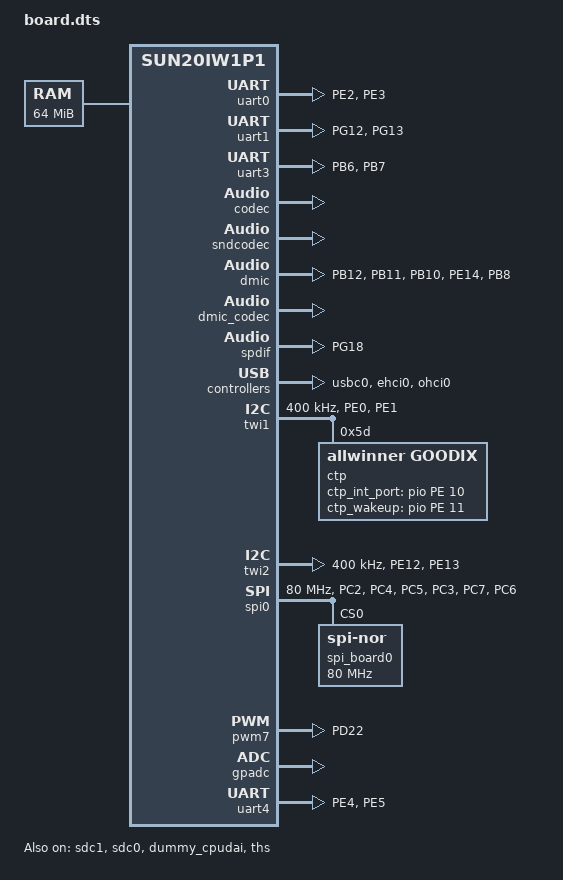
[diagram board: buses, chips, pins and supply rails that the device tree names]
/*
 * Allwinner Technology CO., Ltd. sun20iw1p1 fpga.
 *
 * fpga support.
 */

/dts-v1/;

#include "sun20iw1p1.dtsi"

/* F133-B has no HDMI video or audio hardware. */
/delete-node/ &hdmi;
/delete-node/ &hdmiaudio;

/{
	compatible = "allwinner,d1", "arm,sun20iw1p1", "allwinner,sun20iw1p1";

	chosen {
		bootargs = "earlycon=sbi console=ttyS0,115200 loglevel=6 cma=8M root=/dev/mmcblk0p1 rootfstype=ext4 rootwait rw";
		stdout-path = "serial0:115200n8";
	};

	memory@40000000 {
		device_type = "memory";
		reg = <0x0 0x40000000 0x0 0x04000000>;
	};

	reserved-memory {
		#address-cells = <2>;
		#size-cells = <2>;
		ranges;

		early_lcd_fb: framebuffer@43c00000 {
			/* Match the OpenSBI and native ARGB8888 framebuffer. */
			reg = <0x0 0x43c00000 0x0 0x00300000>;
		};
	};

	aliases {
		dsp0 = &dsp0;
		dsp0_gpio_int= &dsp0_gpio_int;
	};

	dsp0: dsp0 {
		compatible = "allwinner,sun20iw1-dsp";
		status = "disabled";
	};

	dsp0_gpio_int: dsp0_gpio_int {
		compatible = "allwinner,sun20iw1-dsp-gpio-int";
		pin-group = "PB", "PC", "PD", "PE";
		status = "disabled";
	};

	reg_usb1_vbus: usb1-vbus {
		/* Match DDR: PB3 VBUS control is unverified on this board. */
		status = "disabled";
		compatible = "regulator-fixed";
		regulator-name = "usb1-vbus";
		regulator-min-microvolt = <5000000>;
		regulator-max-microvolt = <5000000>;
		regulator-enable-ramp-delay = <1000>;
		gpio = <&pio PB 3 GPIO_ACTIVE_HIGH>;
		enable-active-high;
	};
};

&pio {
	/* PB PC PD PE PF PG: HOSC / 32 sampling for the PE10 touch IRQ. */
	input-debounce = <0 0 0 1 0 0>;

	sdc0_pins_a: sdc0@0 {
		allwinner,pins = "PF0", "PF1", "PF2",
				 "PF3", "PF4", "PF5";
		allwinner,function = "sdc0";
		allwinner,muxsel = <2>;
		allwinner,drive = <3>;
		allwinner,pull = <1>;
		pins = "PF0", "PF1", "PF2",
		       "PF3", "PF4", "PF5";
		function = "sdc0";
		drive-strength = <30>;
		bias-pull-up;
		power-source = <3300>;
	};


	sdc0_pins_b: sdc0@1 {
		pins = "PF0", "PF1", "PF2",
		       "PF3", "PF4", "PF5";
		function = "sdc0";
		drive-strength = <30>;
		bias-pull-up;
		power-source = <1800>;
	};

	sdc0_pins_c: sdc0@2 {
		pins = "PF0", "PF1", "PF2",
			"PF3", "PF4", "PF5";
		function = "gpio_in";
	};

	/* TODO: add jtag pin */
	sdc0_pins_d: sdc0@3 {
		pins = "PF2", "PF4";
		function = "uart0";
		drive-strength = <10>;
		bias-pull-up;
	};

	sdc0_pins_e: sdc0@4 {
		pins = "PF0", "PF1", "PF3",
			"PF5";
		function = "jtag";
		drive-strength = <10>;
		bias-pull-up;
	};


	sdc1_pins_a: sdc1@0 {
		pins = "PG0", "PG1", "PG2",
		       "PG3", "PG4", "PG5";
		function = "sdc1";
		drive-strength = <30>;
		bias-pull-up;
	};

	sdc1_pins_b: sdc1@1 {
		pins = "PG0", "PG1", "PG2",
		       "PG3", "PG4", "PG5";
			function = "gpio_in";
	};

	sdc2_pins_a: sdc2@0 {
		allwinner,pins = "PC2", "PC3", "PC4",
				 "PC5", "PC6", "PC7";
		allwinner,function = "sdc2";
		allwinner,muxsel = <3>;
		allwinner,drive = <3>;
		allwinner,pull = <1>;
		pins = "PC2", "PC3", "PC4",
			"PC5", "PC6", "PC7";
		function = "sdc2";
		drive-strength = <30>;
		bias-pull-up;
	};

	sdc2_pins_b: sdc2@1 {
		pins = "PC2", "PC3", "PC4",
		       "PC5", "PC6", "PC7";
		function = "gpio_in";
	};

    uart0_pins_a: uart0_pins@0 {
        pins = "PE2", "PE3";
        function = "uart0";
        drive-strength = <10>;
        bias-pull-up;
    };

    uart0_pins_b: uart0_pins@1 {
        pins = "PE2", "PE3";
        function = "gpio_in";
    };

	uart1_pins_a: uart1_pins@0 {
		pins = "PG12", "PG13";
		function = "uart1";
		drive-strength = <10>;
		bias-pull-up;
	};

	uart1_pins_b: uart1_pins@1 {
		pins = "PG12", "PG13";
		function = "gpio_in";
	};

	uart3_pins_a: uart3_pins@0 {
		pins = "PB6", "PB7";
		function = "uart3";
		muxsel = <7>;
		drive-strength = <10>;
		bias-pull-up;
	};

	uart3_pins_b: uart3_pins@1 {
		pins = "PB6", "PB7";
		function = "gpio_in";
	};

	twi0_pins_a: twi0@0 {
		pins = "PB03", "PB02";	/*sck sda*/
		function = "twi0";
		drive-strength = <10>;
	};

	twi0_pins_b: twi0@1 {
		pins = "PB03", "PB02";
		function = "gpio_in";
	};

	twi1_pins_a: twi1@0 {
		pins = "PE0", "PE1";
		function = "twi1";
		drive-strength = <10>;
		bias-pull-up;
	};

	twi1_pins_b: twi1@1 {
		pins = "PE0", "PE1";
		function = "gpio_in";
	};

    twi2_pins_a: twi2@0 {
        pins = "PE12", "PE13";
        function = "twi2";
        drive-strength = <10>;
        bias-pull-up;
    };

    twi2_pins_b: twi2@1 {
        pins = "PE12", "PE13";
        function = "gpio_in";
    };

	twi3_pins_a: twi3@0 {
		pins = "PG07", "PG06";
		function = "twi3";
		drive-strength = <10>;
	};

	twi3_pins_b: twi3@1 {
		pins = "PG07", "PG06";
		function = "gpio_in";
	};

	dmic_pins_a: dmic@0 {
		/* DMIC_PIN: CLK, DATA0, DATA1, DATA2, DATA3*/
		pins = "PB12", "PB11", "PB10", "PE14", "PB8";
		function = "dmic";
		drive-strength = <20>;
		bias-disable;
	};

	dmic_pins_b: dmic@1 {
		pins = "PB12", "PB11", "PB10", "PE14", "PB8";
		function = "io_disabled";
		drive-strength = <20>;
		bias-disable;
	};

	daudio0_pins_a: daudio0@0 {
		pins = "PE17", "PE16", "PE15", "PE14", "PE13";
		function = "i2s0";
		drive-strength = <20>;
		bias-disable;
	};

	daudio0_pins_b: daudio0_sleep@0 {
		pins = "PE17", "PE16", "PE15", "PE14", "PE13";
		function = "io_disabled";
		drive-strength = <20>;
		bias-disable;
	};

	daudio1_pins_a: daudio1@0 {
		pins = "PG11", "PG12", "PG13", "PG14", "PG15";
		function = "i2s1";
		drive-strength = <20>;
		bias-disable;
	};

	daudio1_pins_b: daudio1_sleep@0 {
		pins = "PG11", "PG12", "PG13", "PG14", "PG15";
		function = "io_disabled";
		drive-strength = <20>;
		bias-disable;
	};

	daudio2_pins_a: daudio2@0 {
		/* I2S_PIN: MCLK, BCLK, LRCK */
		pins = "PF6", "PF3", "PF5";
		function = "i2s2";
		drive-strength = <20>;
		bias-disable;
	};

	daudio2_pins_b: daudio2@1 {
		/* I2S_PIN: DOUT0 */
		pins = "PF1";
		function = "i2s2_dout";
		drive-strength = <20>;
		bias-disable;
	};

	daudio2_pins_c: daudio2@2 {
		/* I2S_PIN: DIN0 */
		pins = "PF0";
		function = "i2s2_din";
		drive-strength = <20>;
		bias-disable;
	};

	daudio2_pins_d: daudio2_sleep@0 {
		pins = "PF6", "PF3", "PF5", "PF1", "PF0";
		function = "io_disabled";
		drive-strength = <20>;
		bias-disable;
	};

	spdif_pins_a: spdif@0 {
		/* SPDIF_PIN: SPDIF_OUT */
		pins = "PG18";
		function = "spdif";
		drive-strength = <20>;
		bias-disable;
	};

	spdif_pins_b: spdif_sleep@0 {
		pins = "PG18";
		function = "io_disabled";
		drive-strength = <20>;
		bias-disable;
	};

	spi0_pins_a: spi0@0 {
		pins = "PC2", "PC4", "PC5"; /* clk, mosi, miso */
		function = "spi0";
		muxsel = <2>;
		drive-strength = <20>;
	};

	spi0_pins_b: spi0@1 {
		pins = "PC3", "PC7", "PC6";
		function = "spi0";
		muxsel = <2>;
		drive-strength = <20>;
		bias-pull-up;   /* cs, hold, wp should be pulled up */
	};

	spi0_pins_c: spi0@2 {
		pins = "PC2", "PC3", "PC4", "PC5","PC6", "PC7";
		function = "gpio_in";
		muxsel = <0>;
		drive-strength = <10>;
	};

	ledc_pins_a: ledc@0 {
		pins = "PC0";
		function = "ledc";
		drive-strength = <10>;
	};

	ledc_pins_b: ledc@1 {
		pins = "PC0";
		function = "gpio_in";
	};

	pwm7_pin_a: pwm7@0 {
		pins = "PD22";
		function = "pwm7";
		drive-strength = <10>;
		bias-pull-up;
	};

	pwm7_pin_b: pwm7@1 {
		pins = "PD22";
		function = "gpio_in";
	};


	s_cir0_pins_a: s_cir@0 {
		pins = "PB7";
		function = "ir";
		drive-strength = <10>;
		bias-pull-up;
	};

	s_cir0_pins_b: s_cir@1 {
		pins = "PB7";
		function = "gpio_in";
	};

	ir1_pins_a: ir1@0 {
		pins = "PB0";
		function = "ir";
		drive-strength = <10>;
		bias-pull-up;
	};

	ir1_pins_b: ir1@1 {
		pins = "PB0";
		function = "gpio_in";
	};
};

&uart0 {
	pinctrl-names = "default", "sleep";
	pinctrl-0 = <&uart0_pins_a>;
	pinctrl-1 = <&uart0_pins_b>;
	status = "okay";
};

&uart1 {
	pinctrl-names = "default", "sleep";
	pinctrl-0 = <&uart1_pins_a>;
	pinctrl-1 = <&uart1_pins_b>;
	status = "okay";
};

&uart3 {
	pinctrl-names = "default", "sleep";
	pinctrl-0 = <&uart3_pins_a>;
	pinctrl-1 = <&uart3_pins_b>;
	/* J6 CAN bridge: PB6 TX, PB7 RX; no RTS/CTS. */
	uart3_type = <2>;
	status = "okay";
};

/* System watchdog (timer block, the one Boot0 uses as SUNXI_WDOG_BASE) for
 * OpenSBI's SBI system reset. watchdog@6011000 is the RISC-V core watchdog
 * and only resets the CPU, leaving the board dark. No Linux driver matches
 * this compatible, so only OpenSBI uses the node. */
&soc {
	watchdog@20500a0 {
		compatible = "allwinner,sun20i-d1-wdt-reset";
		reg = <0x0 0x020500a0 0x0 0x20>;
	};
};

&soc {
	card0_boot_para@2 {
		/*
		 * Avoid dtc compiling warnings.
		 * @TODO: Developer should modify this to the actual value
		 */
		reg = <0x0 0x2 0x0 0x0>;
		device_type = "card0_boot_para";
		card_ctrl = <0x0>;
		card_high_speed = <0x1>;
		card_line = <0x4>;
		pinctrl-0 = <&sdc0_pins_a>;
	};

	addr_mgt: addr_mgt@0 {
		compatible     = "allwinner,sunxi-addr_mgt";
		type_addr_wifi = <0x0>;
		type_addr_bt   = <0x0>;
		type_addr_eth  = <0x0>;
		status         = "okay";
	};
};

&sdc2 {
	status = "disabled";
};

/* SV6256P Wi-Fi uses the dedicated PG0-PG5 SDIO bus. */
&sdc1 {
	bus-width = <4>;
	non-removable;
	no-mmc;
	no-sd;
	cap-sd-highspeed;
	cap-sdio-irq;
	keep-power-in-suspend;
	max-frequency = <50000000>;
	status = "okay";
};

&sdc0 {
	/* Capture the first read failure before IRQ status/DMA are cleared. */
	bus-width = <4>;
	cd-gpios = <&pio PF 6 (GPIO_ACTIVE_LOW | GPIO_PULL_UP)>;
	/*non-removable;*/
	/*broken-cd;*/
	/*cd-inverted;*/
	/*data3-detect;*/
	/*card-pwr-gpios = <&pio PH 14 1 1 2 0xffffffff>;*/
	cd-used-24M;
	/* Diagnostic: use default-speed timing, including the inherited capability. */
	/delete-property/ cap-sd-highspeed;
	/*sd-uhs-sdr50;*/
	/*sd-uhs-ddr50;*/
	/*sd-uhs-sdr104;*/
	no-sdio;
	no-mmc;
	/* Diagnostic: keep the SD clock running, matching Melis runtime behavior. */
	/delete-property/ sunxi-power-save-mode;
	/*sunxi-dis-signal-vol-sw;*/
	/* Melis selects 15 MHz when its runtime card_high_speed setting is zero. */
	max-frequency = <15000000>;
	/* Allow the MMC core to retry initialization at 300/200/100 kHz. */
	min-frequency = <100000>;
	ctl-spec-caps = <0x8>;
	/*vmmc-supply = <&reg_dcdc1>;*/
	/*vqmmc33sw-supply = <&reg_dcdc1>;*/
	/*vdmmc33sw-supply = <&reg_dcdc1>;*/
	/*vqmmc18sw-supply = <&reg_eldo1>;*/
	/*vdmmc18sw-supply = <&reg_eldo1>;*/
	status = "okay";
};

/*
tvd configuration
used                   (create device, 0: do not create device, 1: create device)
agc_auto_enable        (0: agc manual mode,agc_manual_value is valid; 1: agc auto mode)
agc_manual_value       (agc manual value, default value is 64)
cagc_enable            (cagc        0: disable, 1: enable)
fliter_used            (3d fliter   0: disable, 1: enable)
support two PMU power  (tvd_power0, tvd_power1)
support two GPIO power (tvd_gpio0, tvd_gpio1)
NOTICE: If tvd need pmu power or gpio power,params need be configured under [tvd]
tvd_sw                 (the switch of all tvd driver.)
tvd_interface          (0: cvbs, 1: ypbpr,)
tvd_format             (0:TVD_PL_YUV420 , 1: MB_YUV420, 2: TVD_PL_YUV422)
tvd_system             (0:ntsc, 1:pal)
tvd_row                (total row number in multi channel mode 1-2)
tvd_column             (total column number in multi channel mode 1-2)
tvd_channelx_en        (0:disable, 1~4:position in multi channel mode,In single channel
                       mode,mean enable)
tvd_row*tvd_column is the total tvd channel number to be used in multichannel mode
+--------------------+--------------------+
|                    |                    |
|                    |                    |
|         1          |         2          |
|                    |                    |
|                    |                    |
+--------------------+--------------------+
|                    |                    |
|                    |                    |
|         3          |         4          |
|                    |                    |
|                    |                    |
+--------------------+--------------------+
*/

&tvd {
	tvd_sw          = <1>;
	tvd_interface   = <0>;
	tvd_format      = <0>;
	tvd_system      = <1>;
	tvd_row         = <1>;
	tvd_column      = <1>;
	tvd_channel0_en = <1>;
	tvd_channel1_en = <0>;
	tvd_channel2_en = <0>;
	tvd_channel3_en = <0>;
	/*tvd_gpio0 = <&pio PD 22 GPIO_ACTIVE_HIGH>;*/
	/*tvd_gpio1 = <&pio PD 23 GPIO_ACTIVE_HIGH>;*/
	/*tvd_gpio2 = <&pio PD 24 GPIO_ACTIVE_HIGH>;*/
	/*	dc1sw-supply = <&reg_dc1sw>;*/
	/*	eldo3-supply = <&reg_eldo3>;*/
	/*tvd_power0      = "dc1sw"*/
	/*tvd_power1      = "eldo3"*/
};

&tvd0 {
	used                    = <1>;
	agc_auto_enable         = <1>;
	agc_manual_value        = <64>;
	cagc_enable             = <1>;
	fliter_used             = <1>;
};

/* Audio Driver modules */
&sunxi_rpaf_dsp0 {
	status = "disabled";
};

/* if audiocodec is used, sdc0 and uart0 should be closed to enable PA. */
&codec {
	/* MIC and headphone gain setting */
	mic1gain 	= <0x1F>;
	mic2gain 	= <0x1F>;
	mic3gain 	= <0x1F>;
	/* ADC/DAC DRC/HPF func enabled */
        /* 0x1:DAP_HP_EN; 0x2:DAP_SPK_EN; 0x3:DAP_HPSPK_EN */
	adcdrc_cfg 	= <0x0>;
	adchpf_cfg 	= <0x1>;
	dacdrc_cfg 	= <0x0>;
	dachpf_cfg 	= <0x0>;
	/* Volume about */
	digital_vol 	= <0x00>;
	lineout_vol 	= <0x1a>;
	headphonegain	= <0x03>;
	/* Pa enabled about */
	pa_level 	= <0x01>;
	pa_pwr_level 	= <0x01>;
	pa_msleep_time 	= <0x78>;
	/* gpio-spk	= <&pio PF 2 GPIO_ACTIVE_HIGH>;*/
	/* gpio-spk-pwr	= <&pio PF 4 GPIO_ACTIVE_HIGH>; */
	/* CMA config about */
	playback_cma	= <128>;
	capture_cma	= <256>;
	/* regulator about */
	/* avcc-supply	= <&reg_aldo1>; */
	/* hpvcc-supply	= <&reg_eldo1>; */
	status = "okay";
};

&sndcodec {
	hp_detect_case = <0x01>;
	/* HPOUTL/R are permanently wired to AB5301B AUXL3/R3. */
	jack_enable = <0x00>;
	allwinner,fixed-headphone-output;
	status = "okay";
};

&dummy_cpudai {
	/* CMA config about */
	playback_cma = <128>;
	capture_cma = <256>;
	status = "okay";
};

&dmic {
	pinctrl-names   = "default","sleep";
	pinctrl-0       = <&dmic_pins_a>;
	pinctrl-1       = <&dmic_pins_b>;
	status = "okay";
};

&dmic_codec {
	status = "okay";
};

&sounddmic {
	status = "okay";
};

/*-----------------------------------------------------------------------------
 * pcm_lrck_period	16/32/64/128/256
 *			(set 0x20 for HDMI audio out)
 * slot_width_select	16bits/20bits/24bits/32bits
 *			(set 0x20 for HDMI audio out)
 * frametype		0 --> short frame = 1 clock width;
 *			1 --> long frame = 2 clock width;
 * tdm_config		0 --> pcm
 *			1 --> i2s
 *			(set 0x01 for HDMI audio out)
 * mclk_div		0 --> not output
 *			1/2/4/6/8/12/16/24/32/48/64/96/128/176/192
 *			(set mclk as external codec clk source, freq is pll_audio/mclk_div)
 * pinctrl_used		0 --> I2S/PCM use for internal (e.g. HDMI)
 *			1 --> I2S/PCM use for external audio
 * daudio_type:		0 --> external audio type
 *			1 --> HDMI audio type
 *---------------------------------------------------------------------------*/
&daudio0 {
	mclk_div 	= <0x01>;
	frametype 	= <0x00>;
	tdm_config 	= <0x01>;
	sign_extend 	= <0x00>;
	msb_lsb_first 	= <0x00>;
	pcm_lrck_period = <0x80>;
	slot_width_select = <0x20>;
	pinctrl-names   = "default", "sleep";
	pinctrl-0       = <&daudio0_pins_a>;
	pinctrl-1       = <&daudio0_pins_b>;
	pinctrl_used	= <0x0>;
	status = "disabled";
};

/*-----------------------------------------------------------------------------
 * simple-audio-card,name	name of sound card, e.g.
 *				"snddaudio0" --> use for external audio
 *				"sndhdmi" --> use for HDMI audio
 * sound-dai			"snd-soc-dummy" --> use for I2S
 *				"hdmiaudio" --> use for HDMI audio
 *				"ac108" --> use for external audio of ac108
 *---------------------------------------------------------------------------*/
&sounddaudio0 {
	/* simple-audio-card,format = "i2s"; */
	/* simple-audio-card,frame-master = <&daudio0_master>; */
	/* simple-audio-card,bitclock-master = <&daudio0_master>; */
	/* simple-audio-card,bitclock-inversion; */
	/* simple-audio-card,frame-inversion; */
	status = "disabled";
	daudio0_master: simple-audio-card,codec {
		/* sound-dai = <&ac108>; */
	};
};

&daudio1 {
	mclk_div 	= <0x01>;
	frametype 	= <0x00>;
	tdm_config 	= <0x01>;
	sign_extend 	= <0x00>;
	msb_lsb_first 	= <0x00>;
	pcm_lrck_period = <0x80>;
	slot_width_select = <0x20>;
	pinctrl-names   = "default", "sleep";
	pinctrl-0       = <&daudio1_pins_a>;
	pinctrl-1       = <&daudio1_pins_b>;
	pinctrl_used	= <0x0>;
	status = "disabled";
};

&sounddaudio1 {
	status = "disabled";
	daudio1_master: simple-audio-card,codec {
		/* sound-dai = <&ac108>; */
	};
};

&daudio2 {
	mclk_div 	= <0x01>;
	frametype 	= <0x00>;
	tdm_config 	= <0x01>;
	sign_extend 	= <0x00>;
	tx_data_mode 	= <0x00>;
	rx_data_mode 	= <0x00>;
	msb_lsb_first 	= <0x00>;
	pcm_lrck_period = <0x80>;
	slot_width_select = <0x20>;
	asrc_function_en  = <0x00>;
	pinctrl-names   = "default", "sleep";
	pinctrl-0       = <&daudio2_pins_a &daudio2_pins_b &daudio2_pins_c>;
	pinctrl-1       = <&daudio2_pins_d>;
	pinctrl_used	= <0x1>;
	daudio_type	= <0x0>;
	status = "disabled";
};

&sounddaudio2 {
	status = "okay";
	daudio2_master: simple-audio-card,codec {
		/* sound-dai = <&ac108>; */
	};
};

&spdif {
	pinctrl-names   = "default","sleep";
	pinctrl-0       = <&spdif_pins_a>;
	pinctrl-1       = <&spdif_pins_b>;
	status = "okay";
};

&soundspdif {
	status = "okay";
};

/*
 *usb_port_type: usb mode. 0-device, 1-host, 2-otg.
 *usb_detect_type: usb hotplug detect mode. 0-none, 1-vbus/id detect, 2-id/dpdm detect.
 *usb_detect_mode: 0-thread scan, 1-id gpio interrupt.
 *usb_id_gpio: gpio for id detect.
 *usb_det_vbus_gpio: gpio for id detect. gpio or "axp_ctrl";
 *usb_wakeup_suspend：0-SUPER_STANDBY, 1-USB_STANDBY.
 */
&usbc0 {
	device_type = "usbc0";
	usb_port_type = <0x1>;
	usb_detect_type = <0x0>;
	usb_detect_mode = <0>;
	/* Fixed host role: no unverified ID or VBUS-detect GPIOs. */
	/delete-property/ usb_id_gpio;
	/delete-property/ usb_det_vbus_gpio;
	usb_wakeup_suspend = <0>;
	usb_serial_unique = <0>;
	usb_serial_number = "20080411";
	rndis_wceis = <1>;
	status = "okay";
};

&udc {
	status = "disabled";
};

&ehci0 {
	/* Match the working DDR setup without GPIO VBUS switching. */
	/delete-property/ drvvbus-supply;
	status = "okay";
};

&ohci0 {
	/delete-property/ drvvbus-supply;
	status = "okay";
};

&usbc1 {
	device_type = "usbc1";
	usb_port_type = <1>;
	usb_detect_type = <0>;
	usb_regulator_io = "nocare";
	usb_wakeup_suspend = <0>;
	status = "disabled";
};

&ehci1 {
	status = "disabled";
};

&ohci1 {
	status = "disabled";
};

&twi0 {
	clock-frequency = <400000>;
	pinctrl-0 = <&twi0_pins_a>;
	pinctrl-1 = <&twi0_pins_b>;
	pinctrl-names = "default", "sleep";
	status = "disabled";

	eeprom@50 {
		compatible = "atmel,24c16";
		reg = <0x50>;
		status = "disabled";
	};
};

&twi1 {
	clock-frequency = <400000>;
	pinctrl-0 = <&twi1_pins_a>;
	pinctrl-1 = <&twi1_pins_b>;
	pinctrl-names = "default", "sleep";
	dmas = <&dma 44>, <&dma 44>;
	dma-names = "tx", "rx";
	/* Goodix: PE0/PE1 bus, PE10 INT, PE11 reset. */
	status = "okay";

	ctp@5d {
		compatible = "allwinner,goodix";
		device_type = "ctp";
		reg = <0x5d>;
		status = "okay";
		ctp_name = "gt9xxnew_ts";
		ctp_twi_id = <0x1>;
		ctp_twi_addr = <0x5d>;
		ctp_screen_max_x = <1024>;
		ctp_screen_max_y = <600>;
		/* Native X follows the LCD; the inherited Melis reversal mirrored it. */
		ctp_revert_x_flag = <0x0>;
		ctp_revert_y_flag = <0x0>;
		ctp_exchange_x_y_flag = <0x0>;
		ctp_int_port = <&pio PE 10 GPIO_ACTIVE_HIGH>;
		ctp_wakeup = <&pio PE 11 GPIO_ACTIVE_HIGH>;
	};
};

&twi2 {
	/* MFi authentication chip: PE12 SCL / PE13 SDA. */
	clock-frequency = <400000>;
	pinctrl-0 = <&twi2_pins_a>;
	pinctrl-1 = <&twi2_pins_b>;
	pinctrl-names = "default", "sleep";
	dmas = <&dma 45>, <&dma 45>;
	dma-names = "tx", "rx";
	status = "okay";
};

&twi3 {
	clock-frequency = <400000>;
	pinctrl-0 = <&twi3_pins_a>;
	pinctrl-1 = <&twi3_pins_b>;
	pinctrl-names = "default", "sleep";
	status = "disabled";

	rda5807@11 {
		compatible = "rdamicro,rda5807";
		reg = <0x11>;
		lnap;
		lna-current = <2500>;
		analog-out;
	};
};

&spi0 {
	clock-frequency = <80000000>;
	pinctrl-0 = <&spi0_pins_a &spi0_pins_b>;
	pinctrl-1 = <&spi0_pins_c>;
	pinctrl-names = "default", "sleep";
	/*spi-supply = <&reg_dcdc1>;*/
	spi_slave_mode = <0>;
	spi0_cs_number = <1>;
	spi0_cs_bitmap = <1>;
	status = "okay";

	spi-nand@0 {
		compatible = "spi-nand";
		spi-max-frequency=<0x5F5E100>;
		reg = <0x0>;
		spi-rx-bus-width=<0x04>;
		spi-tx-bus-width=<0x04>;
		status="disabled";
	};

	spi_board0 {
		device_type = "spi_board0";
		compatible = "spi-nor";
		spi-max-frequency = <0x4C4B400>;
		reg = <0x0>;
		spi-rx-bus-width = <0x4>;
		spi-tx-bus-width = <0x4>;
		status = "okay";
	};
};

&ledc {
	pinctrl-names = "default", "sleep";
	pinctrl-0 = <&ledc_pins_a>;
	pinctrl-1 = <&ledc_pins_b>;
	led_count = <12>;
	output_mode = "GRB";
	reset_ns = <84>;
	t1h_ns = <800>;
	t1l_ns = <320>;
	t0h_ns = <300>;
	t0l_ns = <800>;
	wait_time0_ns = <84>;
	wait_time1_ns = <84>;
	wait_data_time_ns = <600000>;
	status	= "disabled";
};

&keyboard0 {
	key0 = <210 0x160>;
	wakeup-source;
	status = "disabled";
};

/*----------------------------------------------------------------------------------
disp init configuration

disp_mode             (0:screen0<screen0,fb0>)
screenx_output_type   (0:none; 1:lcd; 2:tv; 3:hdmi;5:vdpo)
screenx_output_mode   (used for hdmi output, 0:480i 1:576i 2:480p 3:576p 4:720p50)
                      (5:720p60 6:1080i50 7:1080i60 8:1080p24 9:1080p50 10:1080p60)
screenx_output_format (for hdmi, 0:RGB 1:yuv444 2:yuv422 3:yuv420)
screenx_output_bits   (for hdmi, 0:8bit 1:10bit 2:12bit 2:16bit)
screenx_output_eotf   (for hdmi, 0:reserve 4:SDR 16:HDR10 18:HLG)
screenx_output_cs     (for hdmi, 0:undefined  257:BT709 260:BT601  263:BT2020)
screenx_output_dvi_hdmi (for hdmi, 0:undefined 1:dvi mode 2:hdmi mode)
screen0_output_range   (for hdmi, 0:default 1:full 2:limited)
screen0_output_scan    (for hdmi, 0:no data 1:overscan 2:underscan)
screen0_output_aspect_ratio  (for hdmi, 8-same as original picture 9-4:3 10-16:9 11-14:9)
fbx format            (4:RGB655 5:RGB565 6:RGB556 7:ARGB1555 8:RGBA5551 9:RGB888 10:ARGB8888 12:ARGB4444)
fbx pixel sequence    (0:ARGB 1:BGRA 2:ABGR 3:RGBA)
fb0_scaler_mode_enable(scaler mode enable, used FE)
fbx_width,fbx_height  (framebuffer horizontal/vertical pixels, fix to output resolution while equal 0)
lcdx_backlight        (lcd init backlight,the range:[0,256],default:197
lcdx_yy               (lcd init screen bright/contrast/saturation/hue, value:0~100, default:50/50/57/50)
lcd0_contrast         (LCD contrast, 0~100)
lcd0_saturation       (LCD saturation, 0~100)
lcd0_hue              (LCD hue, 0~100)
framebuffer software rotation setting:
disp_rotation_used:   (0:disable; 1:enable,you must set fbX_width to lcd_y,
set fbX_height to lcd_x)
degreeX:              (X:screen index; 0:0 degree; 1:90 degree; 3:270 degree)
degreeX_Y:            (X:screen index; Y:layer index 0~15; 0:0 degree; 1:90 degree; 3:270 degree)
devX_output_type : config output type in bootGUI framework in UBOOT-2018.
				   (0:none; 1:lcd; 2:tv; 4:hdmi;)
devX_output_mode : config output resolution(see include/video/sunxi_display2.h) of bootGUI framework in UBOOT-2018
devX_screen_id   : config display index of bootGUI framework in UBOOT-2018
devX_do_hpd      : whether do hpd detectation or not in UBOOT-2018
chn_cfg_mode     : Hardware DE channel allocation config. 0:single display with 6
				   channel, 1:dual display with 4 channel in main display and 2 channel in second
                   display, 2:dual display with 3 channel in main display and 3 channel in second
                   in display.
----------------------------------------------------------------------------------*/
&disp {
	/* Preserve OpenSBI's running DE (VIDEO0-4x / 4) and TCON clocks. */
	assigned-clock-parents = <&ccu CLK_PLL_VIDEO0_4X>,
		<&ccu CLK_PLL_PERIPH0>, <&ccu CLK_PLL_VIDEO0>,
		<&ccu CLK_PLL_VIDEO1_4X>;
	assigned-clock-rates = <348000000>, <150000000>, <0>, <0>;
	disp_init_enable         = <1>;
	disp_mode                = <0>;

	screen0_output_type      = <1>;
	screen0_output_mode      = <4>;

	screen1_output_type      = <0>;
	screen1_output_mode      = <10>;
	screen1_output_format    = <0>;
	screen1_output_bits      = <0>;
	screen1_output_eotf      = <4>;
	screen1_output_cs        = <257>;
	screen1_output_range     = <2>;
	screen1_output_scan      = <0>;
	screen1_output_aspect_ratio = <8>;

	dev0_output_type         = <1>;
	dev0_output_mode         = <4>;
	dev0_screen_id           = <0>;
	dev0_do_hpd              = <0>;

	dev1_output_type         = <0>;
	dev1_output_mode         = <10>;
	dev1_screen_id           = <1>;
	dev1_do_hpd              = <0>;

	def_output_dev           = <0>;

	fb0_format               = <0>;
	fb0_width                = <1024>;
	fb0_height               = <600>;

	fb1_format               = <0>;
	fb1_width                = <0>;
	fb1_height               = <0>;
	chn_cfg_mode             = <1>;

	disp_para_zone           = <1>;
	/*VCC-LCD*/
/*	dc1sw-supply = <&reg_dc1sw>;*/
	/*VCC-DSI*/
/*	eldo3-supply = <&reg_eldo3>;*/
	/*VCC-PD*/
/*	dcdc1-supply = <&reg_dcdc1>;*/
};

/*----------------------------------------------------------------------------------
;lcd0 configuration

;lcd_if:               0:hv(sync+de); 1:8080; 2:ttl; 3:lvds; 4:dsi; 5:edp; 6:extend dsi
;lcd_hv_if             0:Parallel RGB; 8:Serial RGB; 10:Dummy RGB; 11: RGB Dummy;12:CCIR656
;lcd_hv_clk_phase      0:0 degree;1:90 degree;2:180 degree;3:270 degree
;lcd_hv_sync_polarity  0:vs low,hs low; 1:vs high,hslow; 2:vs low,hs high; 3:vs high,hs high
;lcd_hv_syuv_seq       0:YUYV; 1:YVYU; 2:UYVY; 3:VYUY
;lcd_cpu_if            0:18bit/1 cycle parallel(RGB666); 4:16bit/1cycle parallel (RGB565)
;                      6:18bit/3 cycle parallel(RGB666); 7:16bit/2cycle parallel (RGB565)
;lcd_cpu_te            0:frame auto trigger; 1:frame triggered by te rising edge; 2:frame triggered by te falling edge;
;lcd_dsi_if            0:video mode; 1: Command mode; 2:video burst mode
;lcd_dsi_te            0:frame auto trigger; 1:frame triggered by te rising edge; 2:frame triggered by te falling edge;
;lcd_x:                lcd horizontal resolution
;lcd_y:                lcd vertical resolution
;lcd_width:            width of lcd in mm
;lcd_height:           height of lcd in mm
;lcd_dclk_freq:        in MHZ unit
;lcd_pwm_freq:         in HZ unit
;lcd_pwm_pol:          lcd backlight PWM polarity
;lcd_pwm_max_limit     lcd backlight PWM max limit(<=255)
;lcd_hbp:              hsync back porch(pixel) + hsync plus width(pixel);
;lcd_ht:               hsync total cycle(pixel)
;lcd_vbp:              vsync back porch(line) + vysnc plus width(line)
;lcd_vt:               vysnc total cycle(line)
;lcd_hspw:             hsync plus width(pixel)
;lcd_vspw:             vysnc plus width(pixel)
;lcd_lvds_if:          0:single link;  1:dual link
;lcd_lvds_colordepth:  0:8bit; 1:6bit
;lcd_lvds_mode:        0:NS mode; 1:JEIDA mode
;lcd_frm:              0:disable; 1:enable rgb666 dither; 2:enable rgb656 dither
;lcd_io_phase:         0:noraml; 1:intert phase(0~3bit: vsync phase; 4~7bit:hsync phase;
;                      8~11bit:dclk phase; 12~15bit:de phase)
;lcd_gamma_en          lcd gamma correction enable
;lcd_bright_curve_en   lcd bright curve correction enable
;lcd_cmap_en           lcd color map function enable
;deu_mode              0:smoll lcd screen; 1:large lcd screen(larger than 10inch)
;lcdgamma4iep:         Smart Backlight parameter, lcd gamma vale * 10;
;                      decrease it while lcd is not bright enough; increase while lcd is too bright
;smart_color           90:normal lcd screen 65:retina lcd screen(9.7inch)
;Pin setting for special function ie.LVDS, RGB data or vsync
;   name(donot care) = port:PD12<pin function><pull up or pull down><drive ability><output level>
;Pin setting for gpio:
;   lcd_gpio_X     = port:PD12<pin function><pull up or pull down><drive ability><output level>
;Pin setting for backlight enable pin
;   lcd_bl_en     = port:PD12<pin function><pull up or pull down><drive ability><output level>
;fsync setting, pulse to csi
;lcd_fsync_en          (0:disable fsync,1:enable)
;lcd_fsync_act_time    (active time of fsync, unit:pixel)
;lcd_fsync_dis_time    (disactive time of fsync, unit:pixel)
;lcd_fsync_pol         (0:positive;1:negative)
;gpio config: <&pio for cpu or &r_pio for cpus, port, port num, pio function,
pull up or pull down(default 0), driver level(default 1), data>
;For dual link lvds: use lvds2link_pins_a  and lvds2link_pins_b instead
;For rgb24: use rgb24_pins_a  and rgb24_pins_b instead
;For lvds1: use lvds1_pins_a  and lvds1_pins_b instead
;For lvds0: use lvds0_pins_a  and lvds0_pins_b instead
;----------------------------------------------------------------------------------*/
&lcd0 {
	/* Early text followed by the tested native cold takeover. */
	allwinner,opensbi-splash;
	lcd_used            = <1>;

	lcd_driver_name     = "default_lcd";
	lcd_backlight       = <255>;
	lcd_if              = <0>;

	lcd_x               = <1024>;
	lcd_y               = <600>;
	lcd_width           = <150>;
	lcd_height          = <94>;
	lcd_dclk_freq       = <58>;

	lcd_pwm_used        = <1>;
	lcd_pwm_ch          = <7>;
	lcd_pwm_freq        = <50000>;
	lcd_pwm_pol         = <0>;
	lcd_pwm_max_limit   = <255>;

	lcd_hbp             = <160>;
	lcd_ht              = <1400>;
	lcd_hspw            = <0>;
	lcd_vbp             = <23>;
	lcd_vt              = <650>;
	lcd_vspw            = <0>;

	lcd_dsi_if          = <0>;
	lcd_dsi_lane        = <4>;
	lcd_lvds_if         = <0>;
	lcd_lvds_colordepth = <0>;
	lcd_lvds_mode       = <0>;
	lcd_frm             = <1>;
	lcd_rb_swap         = <1>;
	lcd_hv_clk_phase    = <0>;
	lcd_hv_sync_polarity= <0>;
	lcd_io_phase        = <0x0000>;
	lcd_gamma_en        = <0>;
	lcd_bright_curve_en = <0>;
	lcd_cmap_en         = <0>;
	lcd_fsync_en        = <0>;
	lcd_fsync_act_time  = <1000>;
	lcd_fsync_dis_time  = <1000>;
	lcd_fsync_pol       = <0>;

	deu_mode            = <0>;
	lcdgamma4iep        = <22>;
	smart_color         = <90>;

	lcd_bl_en = <&pio PG 15 GPIO_ACTIVE_HIGH>;
	pinctrl-0 = <&rgb18_pins_a>;
	pinctrl-1 = <&rgb18_pins_b>;
};

&pwm7 {
	pinctrl-names = "active", "sleep";
	pinctrl-0 = <&pwm7_pin_a>;
	pinctrl-1 = <&pwm7_pin_b>;
	status = "okay";
};

&rtp {
	allwinner,tp-sensitive-adjust = <0xf>;
	allwinner,filter-type = <0x1>;
	allwinner,ts-attached;
	status = "disabled";
};

&tpadc {
	key_cnt = <5>;
	key1 = <420 115>;
	key2 = <870 114>;
	key3 = <1290 119>;
	key4 = <1630 373>;
	key5 = <1950 28>;
	status = "disabled";
};

&gpadc {
	channel_num = <1>;
	channel_select = <0x01>;
	channel_data_select = <0>;
	channel_compare_select = <0x01>;
	channel_cld_select = <0x01>;
	channel_chd_select = <0>;
	channel0_compare_lowdata = <1600000>;
	channel0_compare_higdata = <1200000>;
	channel1_compare_lowdata = <460000>;
	channel1_compare_higdata = <1200000>;
	key_cnt = <5>;
	key0_vol = <210>;
	key0_val = <0x19c>;
	key1_vol = <410>;
	key1_val = <0x197>;
	key2_vol = <590>;
	key2_val = <158>;
	key3_vol = <750>;
	key3_val = <28>;
	key4_vol = <880>;
	key4_val = <28>;
	status = "okay";
	wakeup-source;
};

&s_cir0 {
	pinctrl-names = "default", "sleep";
	pinctrl-0 = <&s_cir0_pins_a>;
	pinctrl-1 = <&s_cir0_pins_b>;
	ir_protocol_used		= <0>;
	ir_addr_code0			= <0x0>;
	status = "disabled";
};

&ir1 {
	pinctrl-names = "default", "sleep";
	pinctrl-0 = <&ir1_pins_a>;
	pinctrl-1 = <&ir1_pins_b>;
	status = "disabled";
};


/* Stock firmware uses PE4/PE5 for the AB5301B control link (115200 8N1). */
&pio {
	hz_b500_uart4_pins: hz-b500-uart4-pins {
		pins = "PE4", "PE5";
		function = "uart4";
		drive-strength = <10>;
		bias-pull-up;
	};
};

&uart4 {
	pinctrl-names = "default";
	pinctrl-0 = <&hz_b500_uart4_pins>;
	status = "okay";
};

/* Melis enables this internal sensor and reads the SID calibration at 0x14. */
&ths {
	status = "okay";
};
